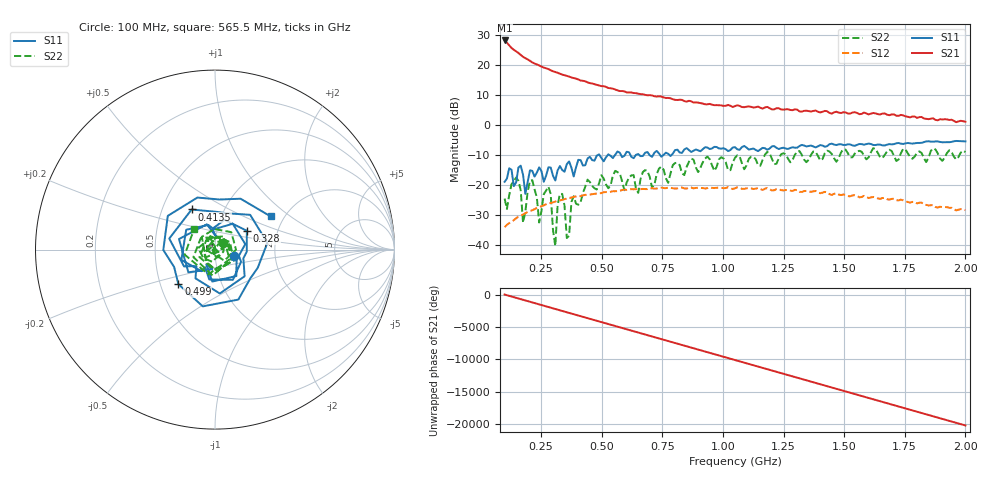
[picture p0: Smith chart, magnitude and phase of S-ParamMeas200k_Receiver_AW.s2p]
!Keysight Technologies,N5242B,MY48420967,A.15.65.19
!Date: Saturday, February 04, 2023 11:03:53
!Correction: S11(C  1-Port  )
!S21(Off)
!S12(Off)
!S22(Off)
!S2P File: Measurements: S11, S21, S12, S22:
# Hz S  dB  R 50
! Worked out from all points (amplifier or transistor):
!   201 points, 100 MHz to 2 GHz, reference 50 ohm
!   highest |S21| = 28.2 dB at 100 MHz (marker M1)
!   |S21| within 3 dB of that: start of sweep to 136.1 MHz
!   unconditionally stable (mu >= 1): start of sweep to end of sweep
!   at 413.5 MHz: K = 1.47, MAG = 15.2 dB, |S12| = -23.8 dB
!   at 1.05 GHz: K = 2.26, MAG = 7.4 dB, |S12| = -21.1 dB
!   at 2 GHz: K = 7.21, MAG = 3.2 dB, |S12| = -28.4 dB
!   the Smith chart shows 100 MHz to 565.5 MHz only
!   S11 on the Smith chart (normalised r, x): 100 MHz: 1.23, -0.09; 328 MHz: 1.39, +0.31; 413.5 MHz: 0.70, +0.34; 499 MHz: 0.62, -0.26; 565.5 MHz: 1.71, +0.72
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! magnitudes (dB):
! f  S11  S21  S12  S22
! 100 MHz  -19.0  28.2  -34.2  -24.6
! 147.5 MHz  -19.2  24.6  -31.1  -17.5
! 176 MHz  -16.6  22.8  -29.9  -32.6
! 185.5 MHz  -23.0  22.3  -29.5  -29.0
! 214 MHz  -15.3  20.9  -28.5  -18.4
! 242.5 MHz  -14.2  19.9  -27.4  -32.6
! 280.5 MHz  -14.2  18.7  -26.2  -20.6
! 309 MHz  -18.5  17.7  -25.6  -40.5
! 328 MHz  -13.7  17.1  -25.2  -23.1
! 347 MHz  -15.6  16.6  -24.8  -26.9
! 356.5 MHz  -13.1  16.4  -24.6  -37.7
! 375.5 MHz  -14.3  15.9  -24.3  -25.7
! 413.5 MHz  -11.7  14.9  -23.8  -25.7
! 423 MHz  -13.5  14.8  -23.5  -22.7
! 499 MHz  -11.0  13.0  -22.7  -16.7
! 565.5 MHz  -8.8  11.6  -22.1  -15.7
! 651 MHz  -9.7  10.5  -21.4  -22.7
! 736.5 MHz  -9.5  9.6  -21.0  -14.6
! 1.05 GHz  -7.4  6.3  -21.1  -10.9
! 1.373 GHz  -7.2  4.7  -22.1  -8.8
! 1.687 GHz  -6.4  3.3  -24.9  -8.3
! 2 GHz  -5.5  1.1  -28.4  -9.0
